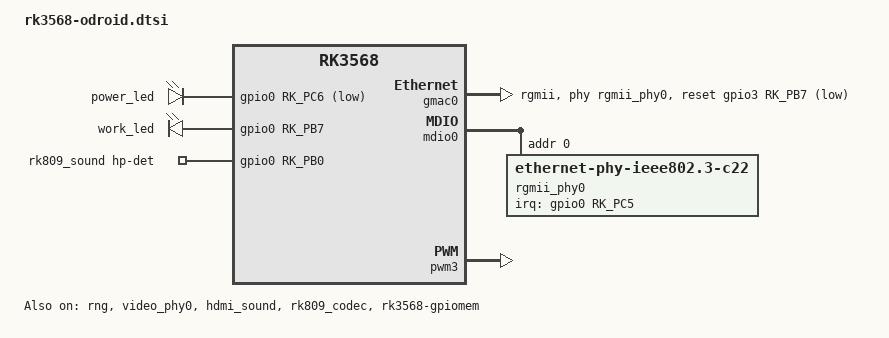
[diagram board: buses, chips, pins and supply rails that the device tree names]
// SPDX-License-Identifier: (GPL-2.0+ OR MIT)
/*
 * Copyright (c) 2021 Hardkernel Co., Ltd.
 *
 */

/dts-v1/;

#include "rk3568.dtsi"
#include "rk3568-evb.dtsi"

/ {
	/delete-node/ adc-keys;
	/delete-node/ nandc@fe330000;
	/delete-node/ sdio-pwrseq;
	/delete-node/ vcc3v3-lcd0-n;
	/delete-node/ vcc3v3-lcd1-n;
	/delete-node/ wireless-bluetooth;
	/delete-node/ wireless-wlan;

	leds: leds {
		power_led: power {
			gpios = <&gpio0 RK_PC6 GPIO_ACTIVE_LOW>;
			linux,default-trigger = "default-on";
		};
		work_led: work {
			gpios = <&gpio0 RK_PB7 GPIO_ACTIVE_HIGH>;
			linux,default-trigger = "heartbeat";
		};
	};

	rk_headset: rk-headset {
		compatible = "rockchip_headset";
		headset_gpio = <&gpio0 RK_PB0 GPIO_ACTIVE_LOW>;
		pinctrl-names = "default";
		pinctrl-0 = <&hp_det>;
	};

	rk3568-gpiomem {
		compatible = "rockchip,rk3568-gpiomem";
		reg = <0x0 0xfd660000 0x0 0x1000>;
		status = "okay";
	};

	rk809_sound: rk809-sound {
		status = "okay";
		compatible = "simple-audio-card";
		simple-audio-card,format = "i2s";
		simple-audio-card,hp-det-gpio = <&gpio0 RK_PB0 GPIO_ACTIVE_HIGH>;
		simple-audio-card,name = "rockchip,rk809-codec";
		simple-audio-card,widgets = "Headphones", "Headphones Jack";
		simple-audio-card,mclk-fs = <256>;
		simple-audio-card,cpu {
			sound-dai = <&i2s1_8ch>;
		};
		simple-audio-card,codec {
			sound-dai = <&rk809_codec>;
		};
	};
};

&gmac0 {
	phy-mode = "rgmii";
	clock_in_out = "output";

	snps,reset-gpio = <&gpio3 RK_PB7 GPIO_ACTIVE_LOW>;
	snps,reset-active-low;
	/* Reset time is 20ms, 100ms for rtl8211f */
	snps,reset-delays-us = <0 20000 100000>;

	assigned-clocks = <&cru SCLK_GMAC0_RX_TX>, <&cru SCLK_GMAC0>;
	assigned-clock-parents = <&cru SCLK_GMAC0_RGMII_SPEED>, <&cru CLK_MAC0_2TOP>;
	assigned-clock-rates = <0>, <125000000>;

	pinctrl-names = "default";
	pinctrl-0 = <&gmac0_miim
		&gmac0_tx_bus2
		&gmac0_rx_bus2
		&gmac0_rgmii_clk
		&gmac0_rgmii_bus>;

	tx_delay = <0x4f>;
	rx_delay = <0x2d>;

	phy-handle = <&rgmii_phy0>;
	status = "okay";
};

&i2c1 {
	status = "disabled";

	/delete-node/ gt1x@14;
};

&i2c2 {
	status = "disabled";
	pinctrl-names = "default";
	pinctrl-0 = <&i2c2m1_xfer>;
};

&i2c5 {
	status = "disabled";

	/delete-node/ mxc6655xa@15;
};

&mdio0 {
	rgmii_phy0: phy@0 {
		compatible = "ethernet-phy-ieee802.3-c22";
		reg = <0x0>;

		interrupt-parent = <&gpio0>;
		interrupts = <RK_PC5 IRQ_TYPE_LEVEL_LOW>;

		pinctrl-names = "default";
		pinctrl-0 = <&ethernet_irq>;
	};
};

&pinctrl {
	can_pins {
		mcp2515_int_pins: mcp2515_int_pins {
			rockchip,pins = <0 RK_PC0 RK_FUNC_GPIO &pcfg_pull_none>;
		};
	};
	ethernet {
		ethernet_irq: ethernet-irq {
			rockchip,pins = <0 RK_PC5 RK_FUNC_GPIO &pcfg_pull_up>;
		};
	};
};

&pinctrl {
	/delete-node/ mxc6655xa;
	/delete-node/ touch;
	/delete-node/ wifi-enable-h;
	/delete-node/ wireless-bluetooth;

	fspi {
		fspi_pins: fspi-pins {
			rockchip,pins =
				/* fspi_clk */
				<1 RK_PD0 1 &pcfg_pull_none>,
				/* fspi_cs0n */
				<1 RK_PD3 1 &pcfg_pull_none>,
				/* fspi_d0 */
				<1 RK_PD1 1 &pcfg_pull_none>;
		};
	};

	headphone {
		hp_det: hp-det {
			rockchip,pins = <0 RK_PB0 RK_FUNC_GPIO &pcfg_pull_down>;
		};
	};
};

&pmu_io_domains {
	vccio4-supply = <&vcc_1v8>;
};

&pwm3 {
	status = "okay";

	compatible = "rockchip,remotectl-pwm";
	remote_pwm_id = <3>;
	handle_cpu_id = <1>;
	remote_support_psci = <0>;
	pinctrl-names = "default";
	pinctrl-0 = <&pwm3_pins>;

	ir_key1 {
		rockchip,usercode = <0x4db2>;
		rockchip,key_table =
			<0x23	KEY_POWER>,
			<0x77	KEY_MUTE>,
			<0x7d	KEY_HOME>,
			<0x31	KEY_ENTER>,
			<0x35	KEY_UP>,
			<0x66	KEY_LEFT>,
			<0x3e	KEY_RIGHT>,
			<0x2d	KEY_DOWN>,
			<0x3a	KEY_MENU>,
			<0x65	KEY_BACK>,
			<0x7e	KEY_VOLUMEDOWN>,
			<0x7f	KEY_VOLUMEUP>;
	};
};

&pwm7 {
	compatible = "rockchip,rk3568-pwm", "rockchip,rk3328-pwm";
	pinctrl-names = "active";
	pinctrl-0 = <&pwm7_pins>;

	status = "disabled";

	/delete-property/ remote_pwm_id;
	/delete-property/ handle_cpu_id;
	/delete-property/ remote_support_psci;
	/delete-node/ ir_key1;
	/delete-node/ ir_key2;
	/delete-node/ ir_key3;
};

&rknpu_mmu {
	status = "disabled";
};

&rng {
	status = "okay";
};

&sdhci {
	pinctrl-0 = <&emmc_bus8
		&emmc_clk
		&emmc_cmd
		&emmc_datastrobe
		&emmc_rstnout>;
	pinctrl-names = "default";

	mmc-hs200-1_8v;
	cap-mmc-hw-reset;
};

&video_phy0 {
	status = "okay";
};

&hdmi_sound {
	compatible = "simple-audio-card";
	simple-audio-card,format = "i2s";
	simple-audio-card,mclk-fs = <128>;
	simple-audio-card,name = "rockchip,hdmi";
	status = "okay";
	rockchip,jack-det;

	simple-audio-card,cpu {
		sound-dai = <&i2s0_8ch>;
	};
	simple-audio-card,codec {
		sound-dai = <&hdmi>;
	};
};

&rk809_sound {
	status = "okay";
	compatible = "simple-audio-card";
	simple-audio-card,format = "i2s";
	simple-audio-card,mclk-fs = <256>;
	simple-audio-card,name = "rockchip,rk809-codec";
	simple-audio-card,hp-det-gpio = <&gpio0 RK_PB0 GPIO_ACTIVE_HIGH>;
	simple-audio-card,widgets = "Headphones", "Headphone Jack";

	simple-audio-card,cpu {
		sound-dai = <&i2s1_8ch>;
	};
	simple-audio-card,codec {
		sound-dai = <&rk809_codec>;
	};
};

&rk809_codec {
	#sound-dai-cells = <0>;
	compatible = "rockchip,rk809-codec", "rockchip,rk817-codec";
	clocks = <&cru I2S1_MCLKOUT>;
	clock-names = "mclk";
	assigned-clocks = <&cru I2S1_MCLKOUT>, <&cru I2S1_MCLK_TX_IOE>;
	assigned-clock-rates = <12288000>;
	assigned-clock-parents = <&cru I2S1_MCLKOUT_TX>, <&cru I2S1_MCLKOUT_TX>;
	pinctrl-names = "default";
	pinctrl-0 = <&i2s1m0_mclk &hp_det>;
	hp-volume = <20>;
	spk-volume = <3>;
	status = "okay";
};

&rk_headset {
	status = "disabled";
};

&spdif_8ch {
	status = "disabled";
};

&spdif_out {
	status = "disabled";
};
